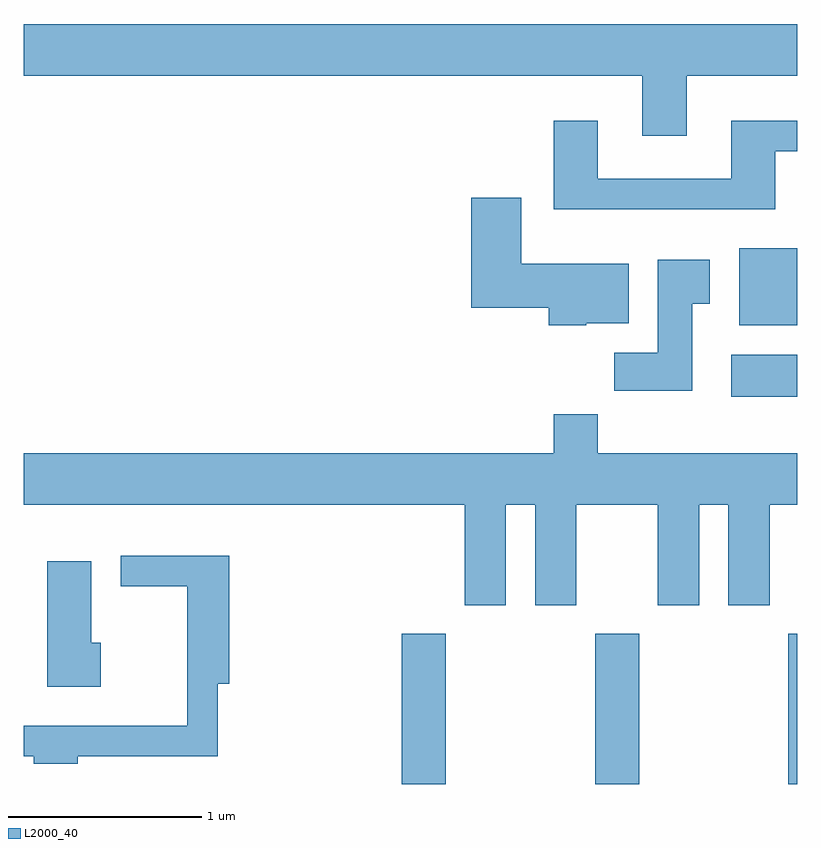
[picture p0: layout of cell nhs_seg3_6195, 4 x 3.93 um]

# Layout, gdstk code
import gdstk
lib = gdstk.Library(unit=1e-6, precision=1e-09)
def R(c, l, rs):  # rectangles x0, y0, x1, y1
    for r in rs: c.add(gdstk.rectangle(r[:2], r[2:], *l))
def P(c, l, *ps):  # polygons
    for p in ps: c.add(gdstk.Polygon(p, *l))
L2000_40 = (2000, 40)

nhs_seg3_6195 = lib.new_cell('nhs_seg3_6195')
R(nhs_seg3_6195, L2000_40, [(369.566,1137.892,369.794,1138.669), (370.566,1137.892,370.794,1138.669), (371.566,1137.892,371.611,1138.669), (371.271,1139.896,371.611,1140.114), (371.311,1140.266,371.611,1140.664)])
P(nhs_seg3_6195, L2000_40, [(371.039,1141.556),(371.611,1141.556),(371.611,1141.824),(367.611,1141.824),(367.611,1141.556),(370.811,1141.556),(370.811,1141.246),(371.039,1141.246)],
  [(371.499,1141.166),(371.611,1141.166),(371.611,1141.324),(371.271,1141.324),(371.271,1141.024),(370.579,1141.024),(370.579,1141.324),(370.351,1141.324),(370.351,1140.866),(371.499,1140.866)],
  [(370.52,1140.276),(370.739,1140.276),(370.739,1140.584),(370.184,1140.584),(370.184,1140.924),(369.926,1140.924),(369.926,1140.356),(370.326,1140.356),(370.326,1140.266),(370.52,1140.266)],
  [(371.069,1140.376),(371.159,1140.376),(371.159,1140.604),(370.891,1140.604),(370.891,1140.124),(370.666,1140.124),(370.666,1139.926),(371.069,1139.926)],
  [(370.104,1139.336),(370.256,1139.336),(370.256,1138.816),(370.469,1138.816),(370.469,1139.336),(370.891,1139.336),(370.891,1138.816),(371.104,1138.816),(371.104,1139.336),(371.256,1139.336),(371.256,1138.816),(371.469,1138.816),(371.469,1139.336),(371.611,1139.336),(371.611,1139.604),(370.579,1139.604),(370.579,1139.804),(370.351,1139.804),(370.351,1139.604),(367.611,1139.604),(367.611,1139.336),(369.891,1139.336),(369.891,1138.816),(370.104,1138.816)],
  [(367.889,1138.036),(368.614,1138.036),(368.614,1138.411),(368.674,1138.411),(368.674,1139.074),(368.113,1139.074),(368.113,1138.916),(368.456,1138.916),(368.456,1138.194),(367.611,1138.194),(367.611,1138.036),(367.661,1138.036),(367.661,1137.996),(367.889,1137.996)],
  [(368.009,1138.624),(367.959,1138.624),(367.959,1139.044),(367.731,1139.044),(367.731,1138.396),(368.009,1138.396)])

lib.write_gds('nhs_seg3_6195.gds')
